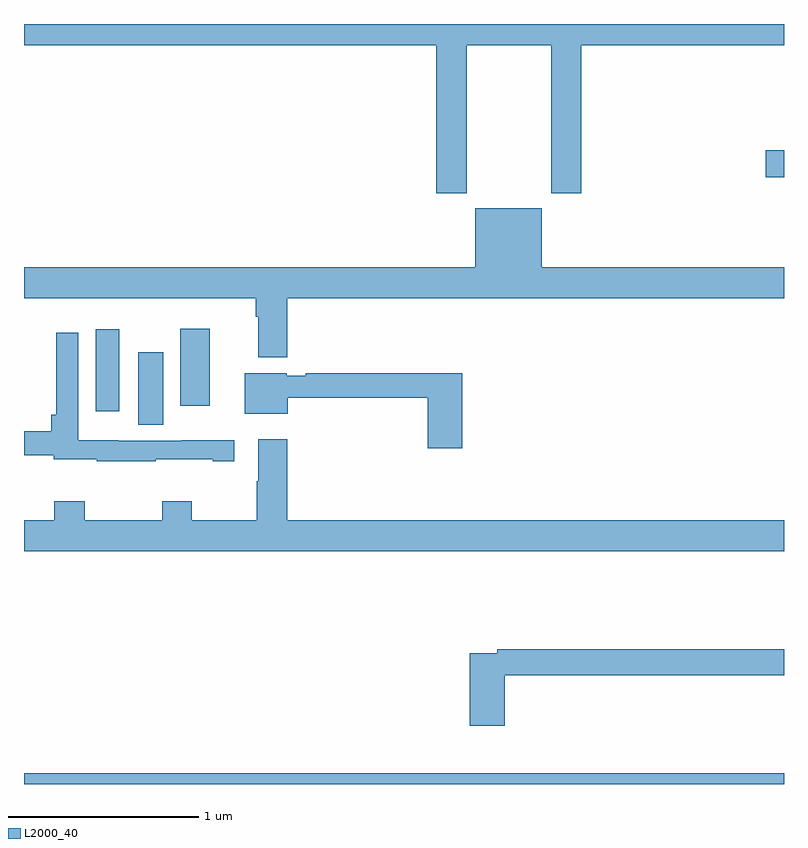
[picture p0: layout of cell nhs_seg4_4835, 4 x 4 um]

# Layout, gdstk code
import gdstk
lib = gdstk.Library(unit=1e-6, precision=1e-09)
def R(c, l, rs):  # rectangles x0, y0, x1, y1
    for r in rs: c.add(gdstk.rectangle(r[:2], r[2:], *l))
def P(c, l, *ps):  # polygons
    for p in ps: c.add(gdstk.Polygon(p, *l))
L2000_40 = (2000, 40)

nhs_seg4_4835 = lib.new_cell('nhs_seg4_4835')
R(nhs_seg4_4835, L2000_40, [(371,824.9,375,824.956), (371.6,826.792,371.734,827.173), (371.378,826.863,371.5,827.293), (371.822,826.89,371.977,827.296), (374.904,828.094,375,828.236)])
P(nhs_seg4_4835, L2000_40, [(373.329,828.788),(373.774,828.788),(373.774,828.009),(373.934,828.009),(373.934,828.788),(375,828.788),(375,828.9),(371,828.9),(371,828.788),(373.169,828.788),(373.169,828.009),(373.329,828.009)],
  [(372.386,827.456),(375,827.456),(375,827.62),(373.726,827.62),(373.726,827.929),(373.376,827.929),(373.376,827.62),(371,827.62),(371,827.456),(372.221,827.456),(372.221,827.36),(372.233,827.36),(372.233,827.147),(372.386,827.147)],
  [(371.693,826.609),(371.993,826.609),(371.993,826.599),(372.106,826.599),(372.106,826.709),(371.83,826.709),(371.83,826.707),(371.496,826.707),(371.496,826.708),(371.286,826.708),(371.286,827.275),(371.17,827.275),(371.17,826.843),(371.144,826.843),(371.144,826.757),(371,826.757),(371,826.629),(371.156,826.629),(371.156,826.609),(371.383,826.609),(371.383,826.599),(371.693,826.599)],
  [(373.307,827.062),(372.484,827.062),(372.484,827.049),(372.384,827.049),(372.384,827.062),(372.161,827.062),(372.161,826.85),(372.388,826.85),(372.388,826.933),(373.124,826.933),(373.124,826.668),(373.307,826.668)],
  [(375,826.288),(372.386,826.288),(372.386,826.714),(372.233,826.714),(372.233,826.493),(372.226,826.493),(372.226,826.288),(371.883,826.288),(371.883,826.387),(371.728,826.387),(371.728,826.288),(371.319,826.288),(371.319,826.387),(371.159,826.387),(371.159,826.288),(371,826.288),(371,826.124),(375,826.124)],
  [(373.529,825.472),(375,825.472),(375,825.608),(373.492,825.608),(373.492,825.588),(373.346,825.588),(373.346,825.207),(373.529,825.207)])

lib.write_gds('nhs_seg4_4835.gds')
